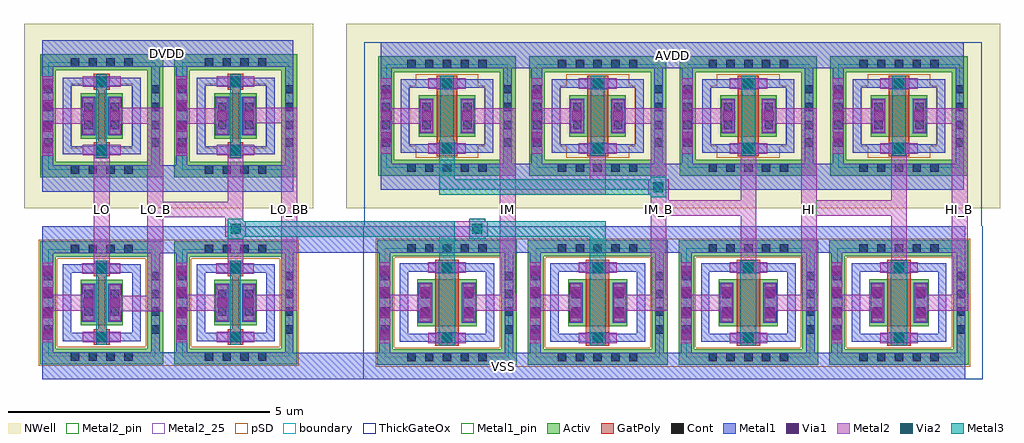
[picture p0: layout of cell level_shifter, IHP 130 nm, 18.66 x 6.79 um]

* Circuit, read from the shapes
.subckt level_shifter AVDD DVDD HI HI_B IM IM_B LO LO_B LO_BB VSS
XM1 LO_B LO VSS VSS sg13_lv_nmos w=0.87u l=0.13u
XM2 LO_BB LO_B VSS VSS sg13_lv_nmos w=0.87u l=0.13u
XM3 IM LO_B VSS VSS sg13_hv_nmos w=0.9u l=0.45u
XM4 IM_B LO_BB VSS VSS sg13_hv_nmos w=0.9u l=0.45u
XM5 HI IM_B VSS VSS sg13_hv_nmos w=0.9u l=0.45u
XM6 HI_B HI VSS VSS sg13_hv_nmos w=0.9u l=0.45u
XM7 LO_B LO DVDD DVDD sg13_lv_pmos w=0.87u l=0.13u
XM8 LO_BB LO_B DVDD DVDD sg13_lv_pmos w=0.87u l=0.13u
XM9 IM IM_B AVDD AVDD sg13_hv_pmos w=0.8u l=0.4u
XM10 IM_B IM AVDD AVDD sg13_hv_pmos w=0.8u l=0.4u
XM11 HI IM_B AVDD AVDD sg13_hv_pmos w=0.8u l=0.4u
XM12 HI_B HI AVDD AVDD sg13_hv_pmos w=0.8u l=0.4u
.ends

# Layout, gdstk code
import gdstk
lib = gdstk.Library(unit=1e-6, precision=1e-09)
def R(c, l, rs):  # rectangles x0, y0, x1, y1
    for r in rs: c.add(gdstk.rectangle(r[:2], r[2:], *l))
def A(c, l, x, y, w, h, nx, ny, dx, dy):  # array of equal rectangles
    R(c, l, [(x+i*dx, y+j*dy, x+i*dx+w, y+j*dy+h) for i in range(nx) for j in range(ny)])
Activ = (1, 0)
GatPoly = (5, 0)
Cont = (6, 0)
Metal1 = (8, 0)
Metal1_pin = (8, 2)
Metal2 = (10, 0)
Metal2_pin = (10, 2)
Metal2_25 = (10, 25)
pSD = (14, 0)
Via1 = (19, 0)
Via2 = (29, 0)
Metal3 = (30, 0)
NWell = (31, 0)
ThickGateOx = (44, 0)
boundary = (189, 4)

sg13_lv_pmos_d4fdzu = lib.new_cell('sg13_lv_pmos_D4FDZU')
R(sg13_lv_pmos_d4fdzu, Activ, [(-1.175,-1.175,1.175,-0.875), (-1.175,-0.875,-0.875,0.875), (0.875,-0.875,1.175,0.875), (-0.405,-0.435,0.405,0.435), (-1.175,0.875,1.175,1.175)])
R(sg13_lv_pmos_d4fdzu, GatPoly, [(-0.15,-0.805,0.15,-0.505), (-0.065,-0.505,0.065,0.505), (-0.15,0.505,0.15,0.805)])
A(sg13_lv_pmos_d4fdzu, Cont, -0.59, -1.105, 0.16, 0.16, 4, 2, 0.34, 2.05)
A(sg13_lv_pmos_d4fdzu, Cont, -1.105, -0.59, 0.16, 0.16, 1, 4, 0, 0.34)
A(sg13_lv_pmos_d4fdzu, Cont, 0.945, -0.59, 0.16, 0.16, 1, 4, 0, 0.34)
R(sg13_lv_pmos_d4fdzu, Cont, [(-0.08,-0.735,0.08,-0.575), (-0.335,-0.25,-0.175,-0.09), (0.175,-0.25,0.335,-0.09), (-0.335,0.09,-0.175,0.25), (0.175,0.09,0.335,0.25), (-0.08,0.575,0.08,0.735)])
R(sg13_lv_pmos_d4fdzu, Metal1, [(-1.105,-1.105,1.105,-0.945), (-1.105,-0.945,-0.945,0.945), (0.945,-0.945,1.105,0.945), (-0.745,-0.735,0.745,-0.575), (-0.745,-0.575,-0.585,0.575), (0.585,-0.575,0.745,0.575), (-0.385,-0.365,-0.125,0.365), (0.125,-0.365,0.385,0.365), (-0.745,0.575,0.745,0.735), (-1.105,0.945,1.105,1.105)])
R(sg13_lv_pmos_d4fdzu, pSD, [(-0.365,-0.735,0.365,-0.615), (-0.585,-0.615,0.585,0.615), (-0.365,0.615,0.365,0.735)])
R(sg13_lv_pmos_d4fdzu, NWell, [(-1.485,-1.485,1.485,1.485)])
R(sg13_lv_pmos_d4fdzu, boundary, [(-1.025,-1.025,1.025,1.025)])
sg13_lv_pmos_d4fdzu.add(gdstk.Label('B', (0,-1.025), layer=8, texttype=25))
sg13_lv_pmos_d4fdzu.add(gdstk.Label('D', (-0.255,0), layer=8, texttype=25))
sg13_lv_pmos_d4fdzu.add(gdstk.Label('S', (0.255,0), layer=8, texttype=25))
sg13_lv_pmos_d4fdzu.add(gdstk.Label('G', (0,0.655), layer=8, texttype=25))

sg13_lv_nmos_l42h6y = lib.new_cell('sg13_lv_nmos_L42H6Y')
R(sg13_lv_nmos_l42h6y, Activ, [(-1.175,-1.175,1.175,-0.875), (-1.175,-0.875,-0.875,0.875), (0.875,-0.875,1.175,0.875), (-0.405,-0.435,0.405,0.435), (-1.175,0.875,1.175,1.175)])
R(sg13_lv_nmos_l42h6y, GatPoly, [(-0.15,-0.805,0.15,-0.505), (-0.065,-0.505,0.065,0.505), (-0.15,0.505,0.15,0.805)])
A(sg13_lv_nmos_l42h6y, Cont, -0.59, -1.105, 0.16, 0.16, 4, 2, 0.34, 2.05)
A(sg13_lv_nmos_l42h6y, Cont, -1.105, -0.59, 0.16, 0.16, 1, 4, 0, 0.34)
A(sg13_lv_nmos_l42h6y, Cont, 0.945, -0.59, 0.16, 0.16, 1, 4, 0, 0.34)
R(sg13_lv_nmos_l42h6y, Cont, [(-0.08,-0.735,0.08,-0.575), (-0.335,-0.25,-0.175,-0.09), (0.175,-0.25,0.335,-0.09), (-0.335,0.09,-0.175,0.25), (0.175,0.09,0.335,0.25), (-0.08,0.575,0.08,0.735)])
R(sg13_lv_nmos_l42h6y, Metal1, [(-1.105,-1.105,1.105,-0.945), (-1.105,-0.945,-0.945,0.945), (0.945,-0.945,1.105,0.945), (-0.745,-0.735,0.745,-0.575), (-0.745,-0.575,-0.585,0.575), (0.585,-0.575,0.745,0.575), (-0.385,-0.365,-0.125,0.365), (0.125,-0.365,0.385,0.365), (-0.745,0.575,0.745,0.735), (-1.105,0.945,1.105,1.105)])
R(sg13_lv_nmos_l42h6y, pSD, [(-1.205,-1.205,1.205,-0.845), (-1.205,-0.845,-0.845,0.845), (0.845,-0.845,1.205,0.845), (-1.205,0.845,1.205,1.205)])
R(sg13_lv_nmos_l42h6y, boundary, [(-1.025,-1.025,1.025,1.025)])
sg13_lv_nmos_l42h6y.add(gdstk.Label('B', (0,-1.025), layer=8, texttype=25))
sg13_lv_nmos_l42h6y.add(gdstk.Label('D', (-0.255,0), layer=8, texttype=25))
sg13_lv_nmos_l42h6y.add(gdstk.Label('S', (0.255,0), layer=8, texttype=25))
sg13_lv_nmos_l42h6y.add(gdstk.Label('G', (0,0.655), layer=8, texttype=25))

sg13_hv_pmos_5ksv8u = lib.new_cell('sg13_hv_pmos_5KSV8U')
R(sg13_hv_pmos_5ksv8u, Activ, [(-1.31,-1.14,1.31,-0.84), (-1.31,-0.84,-1.01,0.84), (1.01,-0.84,1.31,0.84), (-0.54,-0.4,0.54,0.4), (-1.31,0.84,1.31,1.14)])
R(sg13_hv_pmos_5ksv8u, GatPoly, [(-0.2,-0.77,0.2,0.77)])
A(sg13_hv_pmos_5ksv8u, Cont, -0.76, -1.07, 0.16, 0.16, 5, 2, 0.34, 1.98)
A(sg13_hv_pmos_5ksv8u, Cont, -1.24, -0.59, 0.16, 0.16, 1, 4, 0, 0.34)
A(sg13_hv_pmos_5ksv8u, Cont, 1.08, -0.59, 0.16, 0.16, 1, 4, 0, 0.34)
R(sg13_hv_pmos_5ksv8u, Cont, [(-0.08,-0.7,0.08,-0.54), (-0.47,-0.25,-0.31,-0.09), (0.31,-0.25,0.47,-0.09), (-0.47,0.09,-0.31,0.25), (0.31,0.09,0.47,0.25), (-0.08,0.54,0.08,0.7)])
R(sg13_hv_pmos_5ksv8u, Metal1, [(-1.24,-1.07,1.24,-0.91), (-1.24,-0.91,-1.08,0.91), (1.08,-0.91,1.24,0.91), (-0.88,-0.7,0.88,-0.54), (-0.88,-0.54,-0.72,0.54), (0.72,-0.54,0.88,0.54), (-0.52,-0.33,-0.26,0.33), (0.26,-0.33,0.52,0.33), (-0.88,0.54,0.88,0.7), (-1.24,0.91,1.24,1.07)])
R(sg13_hv_pmos_5ksv8u, pSD, [(-0.6,-0.8,0.6,-0.58), (-0.72,-0.58,0.72,0.58), (-0.6,0.58,0.6,0.8)])
R(sg13_hv_pmos_5ksv8u, NWell, [(-1.93,-1.76,1.93,1.76)])
R(sg13_hv_pmos_5ksv8u, ThickGateOx, [(-1.58,-1.41,1.58,1.41)])
R(sg13_hv_pmos_5ksv8u, boundary, [(-1.16,-0.99,1.16,0.99)])
sg13_hv_pmos_5ksv8u.add(gdstk.Label('B', (0,-0.99), layer=8, texttype=25))
sg13_hv_pmos_5ksv8u.add(gdstk.Label('D', (-0.39,0), layer=8, texttype=25))
sg13_hv_pmos_5ksv8u.add(gdstk.Label('S', (0.39,0), layer=8, texttype=25))
sg13_hv_pmos_5ksv8u.add(gdstk.Label('G', (0,0.62), layer=8, texttype=25))

sg13_hv_nmos_t9uvnu = lib.new_cell('sg13_hv_nmos_T9UVNU')
R(sg13_hv_nmos_t9uvnu, Activ, [(-1.335,-1.19,1.335,-0.89), (-1.335,-0.89,-1.035,0.89), (1.035,-0.89,1.335,0.89), (-0.565,-0.45,0.565,0.45), (-1.335,0.89,1.335,1.19)])
R(sg13_hv_nmos_t9uvnu, GatPoly, [(-0.225,-0.82,0.225,0.82)])
A(sg13_hv_nmos_t9uvnu, Cont, -0.76, -1.12, 0.16, 0.16, 5, 2, 0.34, 2.08)
A(sg13_hv_nmos_t9uvnu, Cont, -1.265, -0.59, 0.16, 0.16, 1, 4, 0, 0.34)
A(sg13_hv_nmos_t9uvnu, Cont, 1.105, -0.59, 0.16, 0.16, 1, 4, 0, 0.34)
R(sg13_hv_nmos_t9uvnu, Cont, [(-0.08,-0.75,0.08,-0.59), (-0.495,-0.25,-0.335,-0.09), (0.335,-0.25,0.495,-0.09), (-0.495,0.09,-0.335,0.25), (0.335,0.09,0.495,0.25), (-0.08,0.59,0.08,0.75)])
R(sg13_hv_nmos_t9uvnu, Metal1, [(-1.265,-1.12,1.265,-0.96), (-1.265,-0.96,-1.105,0.96), (1.105,-0.96,1.265,0.96), (-0.905,-0.75,0.905,-0.59), (-0.905,-0.59,-0.745,0.59), (0.745,-0.59,0.905,0.59), (-0.545,-0.38,-0.285,0.38), (0.285,-0.38,0.545,0.38), (-0.905,0.59,0.905,0.75), (-1.265,0.96,1.265,1.12)])
R(sg13_hv_nmos_t9uvnu, pSD, [(-1.365,-1.22,1.365,-0.86), (-1.365,-0.86,-1.005,0.86), (1.005,-0.86,1.365,0.86), (-1.365,0.86,1.365,1.22)])
R(sg13_hv_nmos_t9uvnu, ThickGateOx, [(-1.605,-1.46,1.605,1.46)])
R(sg13_hv_nmos_t9uvnu, boundary, [(-1.185,-1.04,1.185,1.04)])
sg13_hv_nmos_t9uvnu.add(gdstk.Label('B', (0,-1.04), layer=8, texttype=25))
sg13_hv_nmos_t9uvnu.add(gdstk.Label('D', (-0.415,0), layer=8, texttype=25))
sg13_hv_nmos_t9uvnu.add(gdstk.Label('S', (0.415,0), layer=8, texttype=25))
sg13_hv_nmos_t9uvnu.add(gdstk.Label('G', (0,0.67), layer=8, texttype=25))

level_shifter = lib.new_cell('level_shifter')
A(level_shifter, Metal1, 6.79, 0.54, 0.21, 1.92, 4, 1, 2.88, 0)
A(level_shifter, Metal1, 9.19, 0.54, 0.16, 1.92, 4, 1, 2.88, 0)
A(level_shifter, Metal1, 7.885, 0.725, 0.4, 0.21, 4, 2, 2.88, 1.34)
A(level_shifter, Metal1, 6.815, 4.16, 0.21, 1.82, 4, 1, 2.88, 0)
A(level_shifter, Metal1, 9.165, 4.16, 0.16, 1.82, 4, 1, 2.88, 0)
A(level_shifter, Metal1, 7.91, 4.345, 0.35, 0.21, 4, 2, 2.88, 1.24)
R(level_shifter, Metal1, [(0.35,0.04,17.99,0.54), (0.35,0.54,5.15,0.555), (0.35,0.555,0.56,2.445), (2.43,0.555,2.59,2.445), (2.91,0.555,3.12,2.445), (4.99,0.555,5.15,2.445), (1.34,0.74,1.63,0.95), (3.9,0.74,4.19,0.95), (7.57,1.185,7.77,1.815), (8.4,1.185,8.6,1.815), (10.45,1.185,10.65,1.815), (11.28,1.185,11.48,1.815), (13.33,1.185,13.53,1.815), (14.16,1.185,14.36,1.815), (16.21,1.185,16.41,1.815), (17.04,1.185,17.24,1.815), (1.13,1.19,1.33,1.81), (1.64,1.19,1.84,1.81), (3.69,1.19,3.89,1.81), (4.2,1.19,4.4,1.81), (1.34,2.05,1.63,2.26), (3.9,2.05,4.19,2.26), (0.35,2.445,5.15,2.46), (0.35,2.46,17.99,2.96), (0.35,3.625,5.15,4.125), (6.815,3.66,17.965,4.16), (0.35,4.125,0.56,6.015), (2.43,4.125,2.59,6.015), (2.91,4.125,3.12,6.015), (4.99,4.125,5.15,6.015), (1.34,4.31,1.63,4.52), (3.9,4.31,4.19,4.52), (1.13,4.77,1.33,5.37), (1.64,4.77,1.84,5.37), (3.69,4.77,3.89,5.37), (4.2,4.77,4.4,5.37), (7.595,4.805,7.795,5.335), (8.375,4.805,8.575,5.335), (10.475,4.805,10.675,5.335), (11.255,4.805,11.455,5.335), (13.355,4.805,13.555,5.335), (14.135,4.805,14.335,5.335), (16.235,4.805,16.435,5.335), (17.015,4.805,17.215,5.335), (1.34,5.62,1.63,5.83), (3.9,5.62,4.19,5.83), (6.815,5.98,17.965,6.48), (0.35,6.015,5.15,6.515)])
R(level_shifter, Metal1_pin, [(0.35,0.04,17.99,0.54), (6.815,5.98,17.965,6.48), (0.35,6.015,5.15,6.515)])
A(level_shifter, Metal2, 6.79, 0.725, 0.21, 0.625, 4, 2, 2.88, 0.925)
A(level_shifter, Metal2, 7.725, 0.73, 0.72, 0.2, 4, 2, 2.88, 1.34)
A(level_shifter, Metal2, 6.79, 1.35, 0.985, 0.3, 4, 1, 2.88, 0)
A(level_shifter, Metal2, 8.395, 1.35, 1.025, 0.3, 4, 1, 2.88, 0)
A(level_shifter, Metal2, 6.815, 4.345, 0.21, 0.575, 4, 2, 2.88, 0.875)
A(level_shifter, Metal2, 7.725, 4.35, 0.72, 0.2, 4, 2, 2.88, 1.24)
A(level_shifter, Metal2, 6.815, 4.92, 1, 0.3, 4, 1, 2.88, 0)
A(level_shifter, Metal2, 8.355, 4.92, 1.04, 0.3, 4, 1, 2.88, 0)
R(level_shifter, Metal2, [(0.35,0.74,0.56,1.35), (2.91,0.74,3.12,1.35), (1.125,0.745,1.845,0.945), (3.685,0.745,4.405,0.945), (7.565,1.14,7.775,1.35), (8.395,1.14,8.605,1.35), (10.445,1.14,10.655,1.35), (11.275,1.14,11.485,1.35), (13.325,1.14,13.535,1.35), (14.155,1.14,14.365,1.35), (16.205,1.14,16.415,1.35), (17.035,1.14,17.245,1.35), (1.125,1.155,1.335,1.35), (1.635,1.155,1.845,1.335), (3.685,1.155,3.895,1.35), (4.195,1.155,4.405,1.35), (1.635,1.335,2.66,1.635), (0.35,1.35,1.335,1.65), (2.91,1.35,3.895,1.65), (4.195,1.35,5.22,1.65), (1.635,1.635,1.845,1.845), (2.36,1.635,2.66,3.135), (0.35,1.65,0.56,2.26), (1.125,1.65,1.335,1.845), (2.91,1.65,3.12,2.26), (3.685,1.65,3.895,1.845), (4.195,1.65,4.405,1.845), (4.92,1.65,5.22,2.76), (7.565,1.65,7.775,1.86), (8.395,1.65,8.605,1.86), (9.095,1.65,9.395,3.56), (10.445,1.65,10.655,1.86), (11.275,1.65,11.485,1.86), (11.975,1.65,12.275,3.16), (13.325,1.65,13.535,1.86), (14.155,1.65,14.365,1.86), (14.855,1.65,15.155,3.16), (16.205,1.65,16.415,1.86), (17.035,1.65,17.245,1.86), (17.735,1.65,18.035,4.92), (1.115,2.055,1.835,2.255), (3.675,2.055,4.395,2.255), (1.335,2.255,1.635,4.315), (3.895,2.255,4.195,2.76), (13.695,2.27,13.995,3.16), (16.575,2.27,16.875,3.16), (3.85,2.76,4.24,3.06), (4.92,2.76,8.86,3.06), (3.85,3.06,4.195,3.135), (4.92,3.06,5.22,4.93), (2.36,3.135,4.195,3.435), (11.975,3.16,13.995,3.46), (14.855,3.16,16.875,3.46), (2.36,3.435,2.66,4.925), (3.895,3.435,4.195,4.315), (11.975,3.46,12.32,3.56), (13.695,3.46,13.995,4.35), (14.855,3.46,15.155,4.92), (16.575,3.46,16.875,4.35), (9.095,3.56,11.115,3.86), (11.93,3.56,12.32,3.86), (9.095,3.86,9.395,4.92), (10.815,3.86,11.115,4.35), (11.975,3.86,12.275,4.92), (0.35,4.31,0.56,4.92), (2.91,4.31,3.12,4.92), (1.125,4.315,1.845,4.515), (3.685,4.315,4.405,4.515), (1.125,4.725,1.335,4.92), (1.635,4.725,1.845,4.925), (3.685,4.725,3.895,4.92), (4.195,4.725,4.405,4.93), (7.575,4.76,7.815,4.92), (8.355,4.76,8.595,4.92), (10.455,4.76,10.695,4.92), (11.235,4.76,11.475,4.92), (13.335,4.76,13.575,4.92), (14.115,4.76,14.355,4.92), (16.215,4.76,16.455,4.92), (16.995,4.76,17.235,4.92), (0.35,4.92,1.335,5.22), (2.91,4.92,3.895,5.22), (1.635,4.925,2.66,5.225), (4.195,4.93,5.22,5.23), (0.35,5.22,0.56,5.83), (1.125,5.22,1.335,5.415), (2.91,5.22,3.12,5.83), (3.685,5.22,3.895,5.415), (7.575,5.22,7.815,5.38), (8.355,5.22,8.595,5.38), (10.455,5.22,10.695,5.38), (11.235,5.22,11.475,5.38), (13.335,5.22,13.575,5.38), (14.115,5.22,14.355,5.38), (16.215,5.22,16.455,5.38), (16.995,5.22,17.235,5.38), (1.635,5.225,1.845,5.415), (4.195,5.23,4.405,5.415), (1.125,5.625,1.845,5.825), (3.685,5.625,4.405,5.825)])
R(level_shifter, Metal2_pin, [(2.36,1.335,2.66,5.225), (14.855,1.35,15.155,5.22), (17.735,1.35,18.035,5.22), (1.335,2.255,1.635,4.315)])
R(level_shifter, Metal2_25, [(4.92,1.35,5.22,5.23), (9.095,1.35,9.395,5.22), (11.975,1.35,12.275,5.22)])
A(level_shifter, pSD, 9.45, 0.28, 0.15, 2.44, 3, 1, 2.88, 0)
R(level_shifter, pSD, [(2.69,0.295,2.84,2.705)])
A(level_shifter, Via1, 7.99, 0.735, 0.19, 0.19, 4, 2, 2.88, 1.34)
A(level_shifter, Via1, 0.36, 0.79, 0.19, 0.19, 1, 4, 0, 0.41)
A(level_shifter, Via1, 2.92, 0.79, 0.19, 0.19, 1, 4, 0, 0.41)
A(level_shifter, Via1, 6.8, 0.79, 0.19, 0.19, 4, 2, 2.88, 1.23)
A(level_shifter, Via1, 7.99, 4.355, 0.19, 0.19, 4, 2, 2.88, 1.24)
A(level_shifter, Via1, 0.36, 4.36, 0.19, 0.19, 1, 4, 0, 0.41)
A(level_shifter, Via1, 2.92, 4.36, 0.19, 0.19, 1, 4, 0, 0.41)
A(level_shifter, Via1, 6.825, 4.565, 0.19, 0.19, 4, 2, 2.88, 0.82)
R(level_shifter, Via1, [(1.39,0.75,1.58,0.94), (3.95,0.75,4.14,0.94), (6.8,1.2,6.99,1.39), (7.575,1.2,7.765,1.39), (8.405,1.2,8.595,1.39), (9.68,1.2,9.87,1.39), (10.455,1.2,10.645,1.39), (11.285,1.2,11.475,1.39), (12.56,1.2,12.75,1.39), (13.335,1.2,13.525,1.39), (14.165,1.2,14.355,1.39), (15.44,1.2,15.63,1.39), (16.215,1.2,16.405,1.39), (17.045,1.2,17.235,1.39), (1.135,1.405,1.325,1.595), (1.645,1.405,1.835,1.595), (3.695,1.405,3.885,1.595), (4.205,1.405,4.395,1.595), (6.8,1.61,6.99,1.8), (7.575,1.61,7.765,1.8), (8.405,1.61,8.595,1.8), (9.68,1.61,9.87,1.8), (10.455,1.61,10.645,1.8), (11.285,1.61,11.475,1.8), (12.56,1.61,12.75,1.8), (13.335,1.61,13.525,1.8), (14.165,1.61,14.355,1.8), (15.44,1.61,15.63,1.8), (16.215,1.61,16.405,1.8), (17.045,1.61,17.235,1.8), (1.39,2.06,1.58,2.25), (3.95,2.06,4.14,2.25), (1.39,4.32,1.58,4.51), (3.95,4.32,4.14,4.51), (1.135,4.975,1.325,5.165), (1.645,4.975,1.835,5.165), (3.695,4.975,3.885,5.165), (4.205,4.975,4.395,5.165), (6.825,4.975,7.015,5.165), (7.6,4.975,7.79,5.165), (8.38,4.975,8.57,5.165), (9.705,4.975,9.895,5.165), (10.48,4.975,10.67,5.165), (11.26,4.975,11.45,5.165), (12.585,4.975,12.775,5.165), (13.36,4.975,13.55,5.165), (14.14,4.975,14.33,5.165), (15.465,4.975,15.655,5.165), (16.24,4.975,16.43,5.165), (17.02,4.975,17.21,5.165), (1.39,5.63,1.58,5.82), (3.95,5.63,4.14,5.82)])
A(level_shifter, Via2, 7.99, 0.735, 0.19, 0.19, 4, 2, 2.88, 1.34)
A(level_shifter, Via2, 7.99, 4.355, 0.19, 0.19, 4, 2, 2.88, 1.24)
R(level_shifter, Via2, [(1.39,0.75,1.58,0.94), (3.95,0.75,4.14,0.94), (1.39,2.06,1.58,2.25), (3.95,2.06,4.14,2.25), (3.95,2.815,4.14,3.005), (8.57,2.815,8.76,3.005), (12.03,3.615,12.22,3.805), (1.39,4.32,1.58,4.51), (3.95,4.32,4.14,4.51), (1.39,5.63,1.58,5.82), (3.95,5.63,4.14,5.82)])
A(level_shifter, Metal3, 7.93, 0.685, 0.31, 1.63, 4, 1, 2.88, 0)
A(level_shifter, Metal3, 10.835, 4.305, 0.26, 1.53, 3, 1, 2.88, 0)
R(level_shifter, Metal3, [(1.385,0.7,1.585,2.3), (3.945,0.7,4.145,2.3), (7.935,2.315,8.235,2.76), (10.815,2.315,11.115,2.76), (3.895,2.715,4.195,2.76), (8.515,2.715,8.815,2.76), (3.895,2.76,8.235,3.06), (8.515,2.76,11.115,3.06), (3.895,3.06,4.195,3.105), (8.515,3.06,8.815,3.105), (11.975,3.515,12.275,3.56), (7.935,3.56,12.275,3.86), (7.935,3.86,8.235,4.6), (11.975,3.86,12.275,3.905), (1.385,4.27,1.585,5.87), (3.945,4.27,4.145,5.87), (7.955,4.6,8.215,5.835)])
R(level_shifter, NWell, [(0,3.31,5.53,6.83), (6.155,3.31,18.655,6.83)])
R(level_shifter, ThickGateOx, [(6.505,2.96,18.305,3.66)])
level_shifter.add(gdstk.Reference(sg13_lv_pmos_d4fdzu, (1.485,5.07)))
level_shifter.add(gdstk.Reference(sg13_lv_nmos_l42h6y, (1.485,1.5)))
level_shifter.add(gdstk.Reference(sg13_lv_pmos_d4fdzu, (4.045,5.07)))
level_shifter.add(gdstk.Reference(sg13_lv_nmos_l42h6y, (4.045,1.5)))
level_shifter.add(gdstk.Reference(sg13_hv_pmos_5ksv8u, (8.085,5.07)))
level_shifter.add(gdstk.Reference(sg13_hv_nmos_t9uvnu, (8.085,1.5)))
level_shifter.add(gdstk.Reference(sg13_hv_pmos_5ksv8u, (10.965,5.07)))
level_shifter.add(gdstk.Reference(sg13_hv_nmos_t9uvnu, (10.965,1.5)))
level_shifter.add(gdstk.Reference(sg13_hv_pmos_5ksv8u, (13.845,5.07)))
level_shifter.add(gdstk.Reference(sg13_hv_nmos_t9uvnu, (13.845,1.5)))
level_shifter.add(gdstk.Reference(sg13_hv_pmos_5ksv8u, (16.725,5.07)))
level_shifter.add(gdstk.Reference(sg13_hv_nmos_t9uvnu, (16.725,1.5)))
level_shifter.add(gdstk.Label('LO_BB', (5.07,3.29), layer=10, texttype=25))
level_shifter.add(gdstk.Label('IM', (9.245,3.285), layer=10, texttype=25))
level_shifter.add(gdstk.Label('IM_B', (12.125,3.285), layer=10, texttype=25))
level_shifter.add(gdstk.Label('AVDD', (12.39,6.23), layer=8, texttype=25))
level_shifter.add(gdstk.Label('LO_B', (2.51,3.28), layer=10, texttype=25))
level_shifter.add(gdstk.Label('DVDD', (2.75,6.265), layer=8, texttype=25))
level_shifter.add(gdstk.Label('LO', (1.485,3.285), layer=10, texttype=25))
level_shifter.add(gdstk.Label('HI', (15.005,3.285), layer=10, texttype=25))
level_shifter.add(gdstk.Label('VSS', (9.17,0.29), layer=8, texttype=25))
level_shifter.add(gdstk.Label('HI_B', (17.885,3.285), layer=10, texttype=25))

lib.write_gds('level_shifter.gds')
